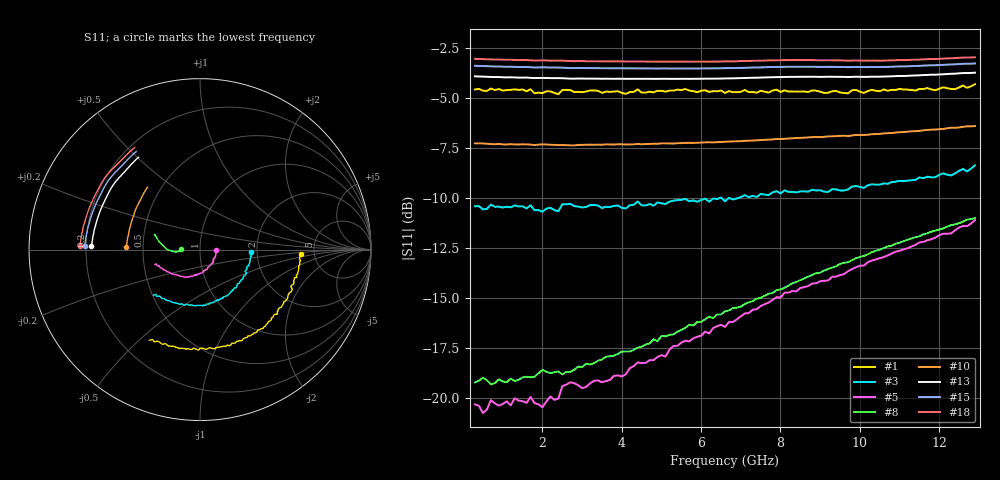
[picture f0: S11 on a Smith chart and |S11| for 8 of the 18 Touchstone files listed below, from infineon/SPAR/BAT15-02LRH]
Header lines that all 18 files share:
! Infineon Technologies  Discrete & RF Semiconductors
! BAT15-02LRH
! One-Port S-Parameters
# Hz  S  MA  R  50
!f  S11
!Hz  Mag  Ang
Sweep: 309.9 MHz to 12.9 GHz
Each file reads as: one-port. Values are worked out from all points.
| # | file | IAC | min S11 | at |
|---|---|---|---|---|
| 1 | BAT15-02LRH_IAC_0.2mA.s1p | 0.2 mA | -4.8 dB | 2.409 GHz |
| 2 | BAT15-02LRH_IAC_0.3mA.s1p | 0.3 mA | -7.5 dB | 2.409 GHz |
| 3 | BAT15-02LRH_IAC_0.4mA.s1p | 0.4 mA | -10.7 dB | 2.009 GHz |
| 4 | BAT15-02LRH_IAC_0.5mA.s1p | 0.5 mA | -14.7 dB | 2.009 GHz |
| 5 | BAT15-02LRH_IAC_0.6mA.s1p | 0.6 mA | -20.8 dB | 509.8 MHz |
| 6 | BAT15-02LRH_IAC_0.7mA.s1p | 0.7 mA | -37.3 dB | 509.8 MHz |
| 7 | BAT15-02LRH_IAC_0.8mA.s1p | 0.8 mA | -26.0 dB | 709.6 MHz |
| 8 | BAT15-02LRH_IAC_0.9mA.s1p | 0.9 mA | -19.3 dB | 709.6 MHz |
| 9 | BAT15-02LRH_IAC_1mA.s1p | 1 mA | -16.0 dB | 709.6 MHz |
| 10 | BAT15-02LRH_IAC_2mA.s1p | 2 mA | -7.4 dB | 2.809 GHz |
| 11 | BAT15-02LRH_IAC_3mA.s1p | 3 mA | -5.4 dB | 2.809 GHz |
| 12 | BAT15-02LRH_IAC_4mA.s1p | 4 mA | -4.6 dB | 3.808 GHz |
| 13 | BAT15-02LRH_IAC_5mA.s1p | 5 mA | -4.1 dB | 5.707 GHz |
| 14 | BAT15-02LRH_IAC_6mA.s1p | 6 mA | -3.8 dB | 5.707 GHz |
| 15 | BAT15-02LRH_IAC_7mA.s1p | 7 mA | -3.6 dB | 5.707 GHz |
| 16 | BAT15-02LRH_IAC_8mA.s1p | 8 mA | -3.4 dB | 5.707 GHz |
| 17 | BAT15-02LRH_IAC_9mA.s1p | 9 mA | -3.3 dB | 5.707 GHz |
| 18 | BAT15-02LRH_IAC_10mA.s1p | 10 mA | -3.2 dB | 5.707 GHz |
